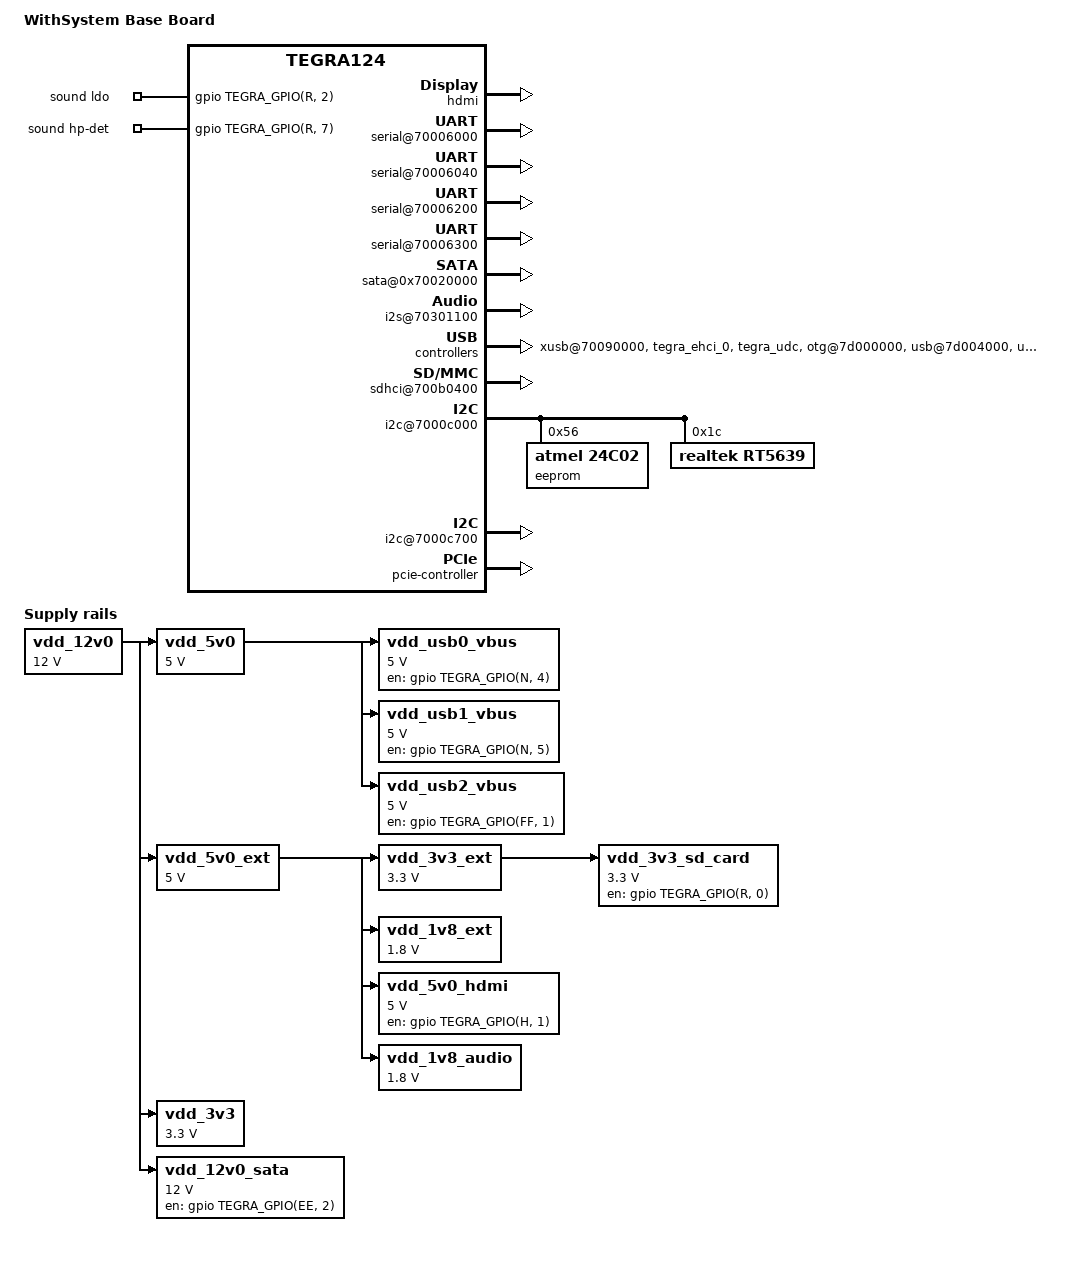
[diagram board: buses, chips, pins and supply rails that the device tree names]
/dts-v1/;

#include <dt-bindings/display/tegra-dc.h>
#include <dt-bindings/usb/tegra-ehci.h>
#include <dt-bindings/usb/tegra-xhci.h>
#include <dt-bindings/pci/tegra-pcie.h>

#include "tegra124-meerkat.dtsi"

/ {
	model = "WithSystem Base Board";
	compatible = "ad,ws-base-board", "ad,meerkat", "nvidia,tegra124";
	nvidia,dtsfilename = __FILE__;

	pinmux {
		common {
			gpio_x7_aud_px7 {
				nvidia,pins = "gpio_x7_aud_px7";
				nvidia,function = "rsvd1";
				nvidia,pull = <TEGRA_PIN_PULL_NONE>;
				nvidia,tristate = <TEGRA_PIN_DISABLE>;
				nvidia,enable-input = <TEGRA_PIN_DISABLE>;
			};

			uart3_rxd_pw7 {
				nvidia,tristate = <TEGRA_PIN_DISABLE>;
			};

			uart3_txd_pw6 {
				nvidia,tristate = <TEGRA_PIN_DISABLE>;
			};

			/* i2s1 (DAP2) */
			dap2_din_pa4 {
				nvidia,tristate = <TEGRA_PIN_DISABLE>;
			};

			dap2_fs_pa2 {
				nvidia,tristate = <TEGRA_PIN_DISABLE>;
			};

			dap2_sclk_pa3 {
				nvidia,tristate = <TEGRA_PIN_DISABLE>;
			};
		};
	};

	host1x {
		dc@54200000 {
			status = "okay";

			nvidia,dc-connection = "external-display";
			vdd_hdmi_5v0-supply = <&vdd_5v0_hdmi>;
		};

		hdmi {
			status = "okay";
		};
	};

	/* Use HS UART for the first 3 ports */
	serial@70006000 {
		compatible = "nvidia,tegra114-hsuart", "nvidia,tegra30-hsuart";
		status = "okay";
	};

	serial@70006040 {
		compatible = "nvidia,tegra114-hsuart", "nvidia,tegra30-hsuart";
		status = "okay";
	};

	serial@70006200 {
		compatible = "nvidia,tegra114-hsuart", "nvidia,tegra30-hsuart";
		status = "okay";
	};

	serial@70006300 {
		status = "okay";
	};

	/* SATA */
	sata@0x70020000 {
		status = "okay";
		vdd_sata-supply = <&vdd_12v0_sata>;
	};

	hda@70030000 {
		status = "okay";
	};

	avp-audio {
		compatible = "nvidia,tegra124-avp-audio", "nvidia,tegra30-avp-audio";
	};

	audio-offload {
		compatible = "nvidia,tegra-offload";
	};

	ahub {
		status = "okay";

		i2s@70301100 {
			status = "okay";
		};
	};

	xusb@70090000 {
		status = "okay";
		nvidia,gpio_ss1_sata = <0>;
		nvidia,portmap = <(XUSB_MUX_USB2_P2 | XUSB_MUX_SS_P0)>;
		nvidia,ss_portmap = <XUSB_PADCTL_SS_PORTMAP(P2, DISABLE)>;
		nvidia,lane_owner = <2>; /* PCIe lane1 owner = USB3_SS port1 */
		nvidia,ulpicap = <0>;
		usb_vbus2-supply = <&vdd_5v0_ext>;
	};

	/* On board SD-CARD slot */
	sdhci@700b0400 {
		status = "okay";
		vddio_sd_slot-supply = <&vdd_3v3_sd_card>;
	};

	i2c@7000c000 {
		status = "okay";

		eeprom@56 {
			compatible = "atmel,24c02";
			reg = <0x56>;
		};

		rt5639: audio@1c {
			compatible = "realtek,rt5639";
			reg = <0x1c>;
		};
	};

	/* HDMI DDC */
	i2c@7000c700 {
		status = "okay";
	};

	/* Recovery USB */
	tegra_ehci_0: usb@7d000000 {
		status = "okay";
		nvidia,port-otg;
		nvidia,phy-interface = <TEGRA_USB_PHY_INTF_UTMI>;
		nvidia,mode = <TEGRA_USB_OPMODE_HOST>;
		nvidia,id-det-type = <TEGRA_USB_PMU_ID>;
		nvidia,id-extcon-dev-name = "as3722-extcon";

		nvidia,remote-wakeup-supported;
		nvidia,power-off-on-suspend;

		nvidia,hssync-start-delay = <0>;
		nvidia,elastic-limit = <16>;
		nvidia,idle-wait-delay = <17>;
		nvidia,term-range-adj = <6>;
		nvidia,xcvr-setup = <8>;
		nvidia,xcvr-lsfslew = <2>;
		nvidia,xcvr-lsrslew = <2>;
		nvidia,xcvr-setup-offset = <0>;
		nvidia,xcvr-use-fuses = <1>;
		nvidia,vbus-oc-map = <0x5>;

		usb_vbus-supply = <&vdd_usb0_vbus>;
	};

	tegra_udc: udc@7d000000 {
		status = "okay";
		nvidia,port-otg;
		nvidia,has-host;
		nvidia,phy-interface = <TEGRA_USB_PHY_INTF_UTMI>;
		nvidia,mode = <TEGRA_USB_OPMODE_DEVICE>;
		nvidia,id-det-type = <TEGRA_USB_PMU_ID>;
		nvidia,id-extcon-dev-name = "as3722-extcon";

		nvidia,hssync-start-delay = <0>;
		nvidia,elastic-limit = <16>;
		nvidia,idle-wait-delay = <17>;
		nvidia,term-range-adj = <6>;
		nvidia,xcvr-setup = <8>;
		nvidia,xcvr-lsfslew = <2>;
		nvidia,xcvr-lsrslew = <2>;
		nvidia,xcvr-setup-offset = <0>;
		nvidia,xcvr-use-fuses = <1>;

		usb_vbus-supply = <&vdd_usb0_vbus>;
	};

	otg@7d000000 {
		status = "okay";
		nvidia,ehci-device = <&tegra_ehci_0>;

		usb_vbus-supply = <&vdd_usb0_vbus>;
	};


	/* USB1 */
	usb@7d004000 {
		status = "okay";
		nvidia,phy-interface = <TEGRA_USB_PHY_INTF_UTMI>;
		nvidia,mode = <TEGRA_USB_OPMODE_HOST>;

		nvidia,hotplug;
		nvidia,remote-wakeup-supported;
		nvidia,power-off-on-suspend;

		nvidia,hssync-start-delay = <0>;
		nvidia,elastic-limit = <16>;
		nvidia,idle-wait-delay = <17>;
		nvidia,term-range-adj = <6>;
		nvidia,xcvr-setup = <8>;
		nvidia,xcvr-lsfslew = <2>;
		nvidia,xcvr-lsrslew = <2>;
		nvidia,xcvr-setup-offset = <0>;
		nvidia,xcvr-use-fuses = <1>;
		nvidia,vbus-oc-map = <0x5>;

		usb_vbus-supply = <&vdd_usb1_vbus>;
	};

	/* USB2 */
	usb@7d008000 {
		status = "okay";
		nvidia,phy-interface = <TEGRA_USB_PHY_INTF_UTMI>;
		nvidia,mode = <TEGRA_USB_OPMODE_HOST>;

		nvidia,hotplug;
		nvidia,remote-wakeup-supported;
		nvidia,power-off-on-suspend;

		nvidia,hssync-start-delay = <0>;
		nvidia,elastic-limit = <16>;
		nvidia,idle-wait-delay = <17>;
		nvidia,term-range-adj = <6>;
		nvidia,xcvr-setup = <8>;
		nvidia,xcvr-lsfslew = <2>;
		nvidia,xcvr-lsrslew = <2>;
		nvidia,xcvr-setup-offset = <0>;
		nvidia,xcvr-use-fuses = <1>;
		nvidia,vbus-oc-map = <0x5>;

		usb_vbus-supply = <&vdd_usb2_vbus>;
	};

	pcie-controller {
		status = "okay";
		nvidia,port0_status = <1>;
		nvidia,port1_status = <1>;
		nvidia,lanes = <TEGRA_PCIE_LANES_X2_X1>;
	};

	sound {
		compatible = "nvidia,tegra-audio-rt5639";

		nvidia,memory-clients = <14>;
		nvidia,audio-codec = <&rt5639>;
		nvidia,codec_dai_name = "rt5639-aif1";
		nvidia,i2s-controller = <&tegra_i2s1>;

		nvidia,ldo-gpios = <&gpio TEGRA_GPIO(R, 2) GPIO_ACTIVE_HIGH>;
		nvidia,hp-det-gpios = <&gpio TEGRA_GPIO(R, 7) GPIO_ACTIVE_HIGH>;
		nvidia,i2s-param-hifi = <1>, <1>, <2>; /* TEGRA_DAIFMT_I2S */

		nvidia,audio-routing =
			"Headphone Jack", "HPOR",
			"Headphone Jack", "HPOL",
			"micbias1", "Mic Jack",
			"IN2P", "micbias1",
			"IN2N", "micbias1";

		dbvdd-supply = <&vdd_1v8_audio>;
		avdd-supply = <&vdd_1v8_audio>;
		spkvdd-supply = <&vdd_5v0_ext>;
	};

	regulators {
		vdd_12v0: regulator@100 {
			compatible = "regulator-fixed";
			reg = <100>;
			regulator-name = "+12V";
			regulator-min-microvolt = <12000000>;
			regulator-max-microvolt = <12000000>;
			regulator-always-on;
			regulator-boot-on;
		};

		vdd_5v0: regulator@101 {
			compatible = "regulator-fixed";
			reg = <101>;
			regulator-name = "P5V0_PM";
			regulator-min-microvolt = <5000000>;
			regulator-max-microvolt = <5000000>;
			vin-supply = <&vdd_12v0>;
		};

		vdd_5v0_ext: regulator@102 {
			compatible = "regulator-fixed";
			reg = <102>;
			regulator-name = "P5V0_EXT";
			regulator-min-microvolt = <5000000>;
			regulator-max-microvolt = <5000000>;
			vin-supply = <&vdd_12v0>;
		};

		vdd_3v3: regulator@103 {
			compatible = "regulator-fixed";
			reg = <103>;
			regulator-name = "P3V3_PM";
			regulator-min-microvolt = <3300000>;
			regulator-max-microvolt = <3300000>;
			vin-supply = <&vdd_12v0>;
		};

		vdd_3v3_ext: regulator@104 {
			compatible = "regulator-fixed";
			reg = <104>;
			regulator-name = "P3V3_EXT";
			regulator-min-microvolt = <3300000>;
			regulator-max-microvolt = <3300000>;
			vin-supply = <&vdd_5v0_ext>;
		};

		vdd_1v8_ext: regulator@105 {
			compatible = "regulator-fixed";
			reg = <105>;
			regulator-name = "P1V8_EXT";
			regulator-min-microvolt = <1800000>;
			regulator-max-microvolt = <1800000>;
			vin-supply = <&vdd_5v0_ext>;
		};

		vdd_3v3_sd_card: regulator@106 {
			compatible = "regulator-fixed";
			reg = <106>;
			regulator-name = "+3.3V_SD_CARD";
			regulator-min-microvolt = <3300000>;
			regulator-max-microvolt = <3300000>;
			vin-supply = <&vdd_3v3_ext>;
			gpio = <&gpio TEGRA_GPIO(R, 0) GPIO_ACTIVE_HIGH>;
			enable-active-high;
		};

		vdd_5v0_hdmi: regulator@107 {
			compatible = "regulator-fixed";
			reg = <107>;
			regulator-name = "+5V_HDMI";
			regulator-min-microvolt = <5000000>;
			regulator-max-microvolt = <5000000>;
			vin-supply = <&vdd_5v0_ext>;
			gpio = <&gpio TEGRA_GPIO(H, 1) GPIO_ACTIVE_HIGH>;
			enable-active-high;
		};

		vdd_12v0_sata: regulator@108 {
			compatible = "regulator-fixed";
			reg = <108>;
			regulator-name = "+12V_SATA";
			regulator-min-microvolt = <12000000>;
			regulator-max-microvolt = <12000000>;
			vin-supply = <&vdd_12v0>;
			gpio = <&gpio TEGRA_GPIO(EE, 2) GPIO_ACTIVE_HIGH>;
			enable-active-high;
		};

		vdd_1v8_audio: regulator@109 {
			compatible = "regulator-fixed";
			reg = <109>;
			regulator-name = "P1V8_AUDIO";
			regulator-min-microvolt = <1800000>;
			regulator-max-microvolt = <1800000>;
			vin-supply = <&vdd_5v0_ext>;
		};

		vdd_usb0_vbus: regulator@110 {
			compatible = "regulator-fixed";
			reg = <110>;
			regulator-name = "USB0_VBUS";
			regulator-min-microvolt = <5000000>;
			regulator-max-microvolt = <5000000>;
			gpio = <&gpio TEGRA_GPIO(N, 4) GPIO_ACTIVE_HIGH>;
			enable-active-high;
			gpio-open-drain;
			vin-supply = <&vdd_5v0>;
		};

		vdd_usb1_vbus: regulator@111 {
			compatible = "regulator-fixed";
			reg = <111>;
			regulator-name = "USB1_VBUS";
			regulator-min-microvolt = <5000000>;
			regulator-max-microvolt = <5000000>;
			gpio = <&gpio TEGRA_GPIO(N, 5) GPIO_ACTIVE_HIGH>;
			enable-active-high;
			gpio-open-drain;
			vin-supply = <&vdd_5v0>;
		};

		vdd_usb2_vbus: regulator@112 {
			compatible = "regulator-fixed";
			reg = <112>;
			regulator-name = "USB2_VBUS";
			regulator-min-microvolt = <5000000>;
			regulator-max-microvolt = <5000000>;
			gpio = <&gpio TEGRA_GPIO(FF, 1) GPIO_ACTIVE_HIGH>;
			enable-active-high;
			gpio-open-drain;
			vin-supply = <&vdd_5v0>;
		};
	};
 };
